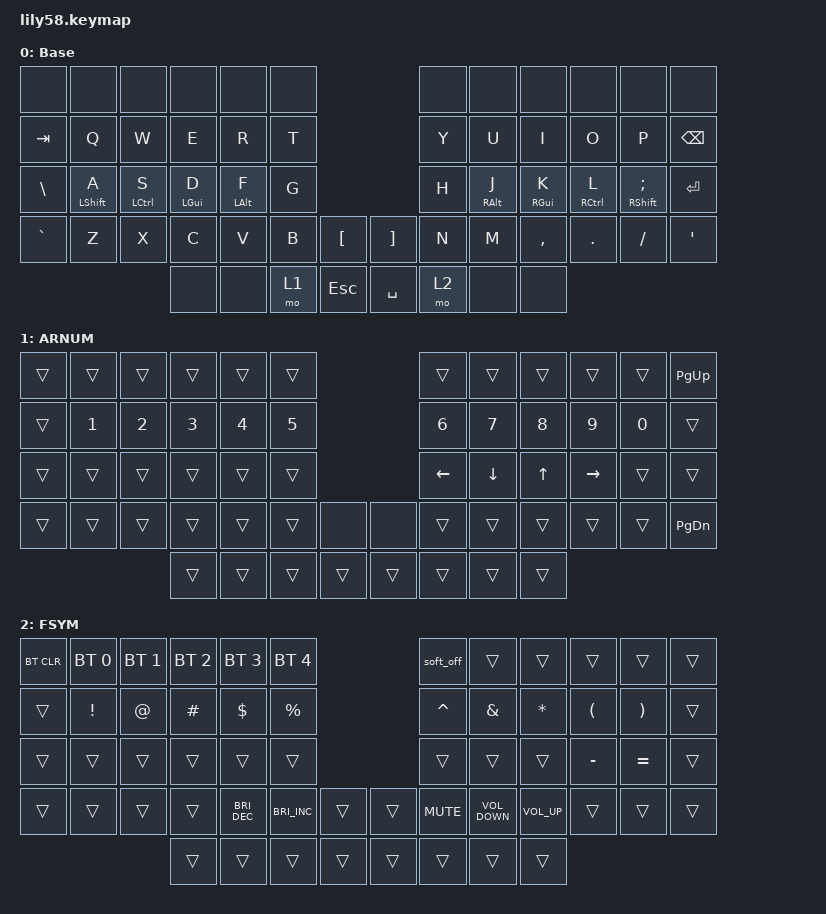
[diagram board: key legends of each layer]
/*
 * Copyright (c) 2020 The ZMK Contributors
 *
 * SPDX-License-Identifier: MIT
 */

#include <behaviors.dtsi>
#include <dt-bindings/zmk/bt.h>
#include <dt-bindings/zmk/keys.h>

&mt { require-prior-idle-ms = <150>; };

/ {
    behaviors {
        home_row: home_row {
            compatible = "zmk,behavior-hold-tap";
            label = "HOME_ROW";
            bindings = <&kp>, <&kp>;

            #binding-cells = <2>;
            flavor = "balanced";
            tapping-term-ms = <200>;
            quick-tap-ms = <150>;
            require-prior-idle-ms = <130>;
        };
    };

    keymap {
        compatible = "zmk,keymap";

        QWERTY {
            // ------------------------------------------------------------------------------------------------------------
            // |  ESC  |  1  |  2  |  3   |  4   |  5   |                   |  6   |  7    |  8    |  9   |   0   |   `   |
            // |  TAB  |  Q  |  W  |  E   |  R   |  T   |                   |  Y   |  U    |  I    |  O   |   P   |   -   |
            // |  CTRL |  A  |  S  |  D   |  F   |  G   |                   |  H   |  J    |  K    |  L   |   ;   |   '   |
            // | SHIFT |  Z  |  X  |  C   |  V   |  B   |   "["  |  |  "]"  |  N   |  M    |  ,    |  .   |   /   | SHIFT |
            //                     | ALT  | GUI  | LOWER|  SPACE |  | ENTER | RAISE| BSPC  | GUI   |

            display-name = "Base";
            bindings = <
&none          &none                   &none                     &none                 &none                 &none                                         &none  &none                  &none                  &none                      &none                       &none
&kp TAB        &kp Q                   &kp W                     &kp E                 &kp R                 &kp T                                         &kp Y  &kp U                  &kp I                  &kp O                      &kp P                       &kp BACKSPACE
&kp BACKSLASH  &home_row LEFT_SHIFT A  &home_row LEFT_CONTROL S  &home_row LEFT_GUI D  &home_row LEFT_ALT F  &kp G                                         &kp H  &home_row RIGHT_ALT J  &home_row RIGHT_GUI K  &home_row RIGHT_CONTROL L  &home_row RIGHT_SHIFT SEMI  &kp ENTER
&kp GRAVE      &kp Z                   &kp X                     &kp C                 &kp V                 &kp B  &kp LEFT_BRACKET    &kp RIGHT_BRACKET  &kp N  &kp M                  &kp COMMA              &kp DOT                    &kp FSLH                    &kp SQT
                                                                 &none                 &none                 &mo 1  &kp ESCAPE          &kp SPACE          &mo 2  &none                  &none
            >;
        };

        ARNUM {
            label = "ARNUM";
            display-name = "ARNUM";
            bindings = <
&trans  &trans  &trans  &trans  &trans  &trans                    &trans          &trans    &trans        &trans     &trans  &kp PAGE_UP
&trans  &kp N1  &kp N2  &kp N3  &kp N4  &kp N5                    &kp N6          &kp N7    &kp N8        &kp N9     &kp N0  &trans
&trans  &trans  &trans  &trans  &trans  &trans                    &kp LEFT_ARROW  &kp DOWN  &kp UP_ARROW  &kp RIGHT  &trans  &trans
&trans  &trans  &trans  &trans  &trans  &trans  &none     &none   &trans          &trans    &trans        &trans     &trans  &kp PAGE_DOWN
                        &trans  &trans  &trans  &trans    &trans  &trans          &trans    &trans
            >;
        };

        FSYM {
            label = "FSYM";
            display-name = "FSYM";
            bindings = <
&bt BT_CLR  &bt BT_SEL 0     &bt BT_SEL 1  &bt BT_SEL 2  &bt BT_SEL 3          &bt BT_SEL 4                            &soft_off   &trans             &trans           &trans                &trans                 &trans
&trans      &kp EXCLAMATION  &kp AT_SIGN   &kp HASH      &kp DOLLAR            &kp PERCENT                             &kp CARET   &kp AMPERSAND      &kp ASTERISK     &kp LEFT_PARENTHESIS  &kp RIGHT_PARENTHESIS  &trans
&trans      &trans           &trans        &trans        &trans                &trans                                  &trans      &trans             &trans           &kp MINUS             &kp EQUAL              &trans
&trans      &trans           &trans        &trans        &kp C_BRIGHTNESS_DEC  &kp C_BRIGHTNESS_INC  &trans    &trans  &kp C_MUTE  &kp C_VOLUME_DOWN  &kp C_VOLUME_UP  &trans                &trans                 &trans
                                           &trans        &trans                &trans                &trans    &trans  &trans      &trans             &trans
            >;
        };
    };
};
